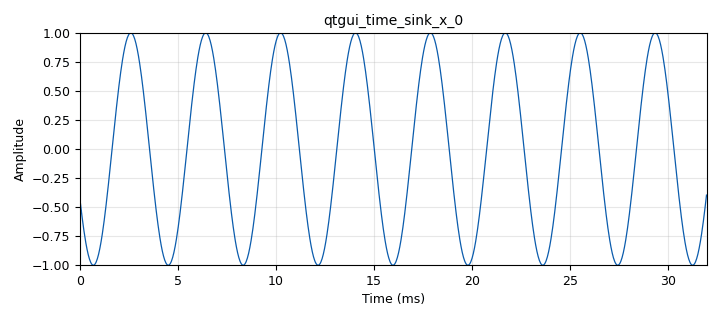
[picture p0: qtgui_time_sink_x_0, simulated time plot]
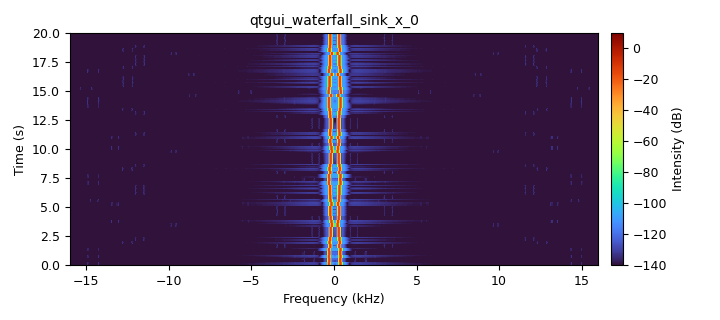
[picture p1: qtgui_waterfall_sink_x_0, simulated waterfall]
options:
  parameters:
    author: Priyanshi
    generate_options: qt_gui
    id: sa
    output_language: python
    title: Not titled yet
  states: {}

blocks:
- name: samp_rate
  id: variable
  parameters:
    value: '32000'
  states: {}
- name: audio_sink_0
  id: audio_sink
  parameters:
    samp_rate: samp_rate
  states: {}
- name: blocks_repeat_0
  id: blocks_repeat
  parameters:
    interp: '9600'
    type: float
  states: {}
- name: blocks_throttle_0
  id: blocks_throttle
  parameters:
    samples_per_second: samp_rate
    type: float
  states: {state: bypassed}
- name: blocks_vco_f_0
  id: blocks_vco_f
  parameters:
    amplitude: '1'
    samp_rate: '32000'
    sensitivity: '6.28'
  states: {}
- name: blocks_vector_source_x_0
  id: blocks_vector_source_x
  parameters:
    repeat: 'True'
    type: float
    vector: (329.63,311.13,329.63,311.13,329.63,246.94,293.66,261.63,220,220,220,146.83,174.61,220,246.94,246.94,246.94,174.61,233.08,246.94,261.63,261.63,261.63,329.63,311.13,329.63,246.94,293.66,261.63,220,220,220,146.83,174.61,220,246.94,174.61,261.63,246.94,220,220,220,246.94,261.63,293.66,329.63,329.63,329.63,196,349.23, 329.23, 293.63, 293.63, 293.63, 164.81, 329.63, 293.63, 261.63, 261.63, 261.63, 146.83, 293.63, 261.63, 246.94, 246.94, 246.94, 329.63, 311.13, 329.63, 246.94, 293.66, 261.63, 220, 220, 220, 146.83, 174.61, 220, 246.94,174.61, 233.08, 246.94, 261.63, 261.63, 261.63, 329.63, 311.13, 329.63, 311.13, 329.63, 246.94, 293.66, 261.63, 220, 220, 220, 146.83, 174.61, 220, 246.94, 246.94, 246.94, 174.61, 261.63, 246.94, 220, 220, 220)
  states: {}
- name: qtgui_time_sink_x_0
  id: qtgui_time_sink_x
  parameters:
    size: '1024'
    srate: samp_rate
    type: float
  states: {}
- name: qtgui_waterfall_sink_x_0
  id: qtgui_waterfall_sink_x
  parameters:
    bw: samp_rate
    fc: '0'
    fftsize: '1024'
    type: float
    wintype: firdes.WIN_BLACKMAN_hARRIS
  states: {}

connections:
- [blocks_repeat_0, '0', blocks_vco_f_0, '0']
- [blocks_throttle_0, '0', qtgui_time_sink_x_0, '0']
- [blocks_vco_f_0, '0', audio_sink_0, '0']
- [blocks_vco_f_0, '0', blocks_throttle_0, '0']
- [blocks_vco_f_0, '0', qtgui_waterfall_sink_x_0, '0']
- [blocks_vector_source_x_0, '0', blocks_repeat_0, '0']

metadata:
  file_format: 1
